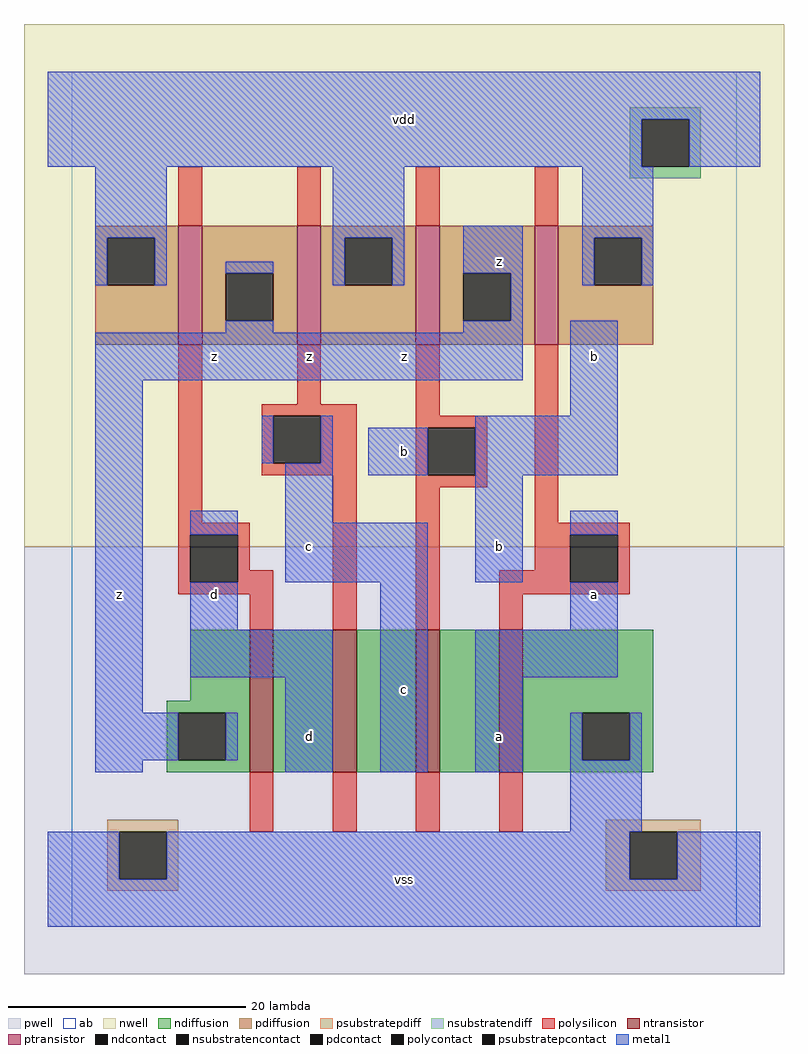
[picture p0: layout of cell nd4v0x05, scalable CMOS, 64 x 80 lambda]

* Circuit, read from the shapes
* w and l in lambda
.subckt nd4v0x05 a b c d vdd vss z
M1 n1 d z vss nfet w=12 l=2
M2 n2 c n1 vss nfet w=12 l=2
M3 n3 b n2 vss nfet w=12 l=2
M4 vss a n3 vss nfet w=12 l=2
M5 z d vdd vdd pfet w=10 l=2
M6 vdd c z vdd pfet w=10 l=2
M7 z b vdd vdd pfet w=10 l=2
M8 vdd a z vdd pfet w=10 l=2
.ends

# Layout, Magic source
magic
tech scmos
<< ab >>
rect 0 0 56 72
<< pwell >>
rect -4 -4 60 32
<< nwell >>
rect -4 32 60 76
<< polysilicon >>
rect 9 59 11 64
rect 19 59 21 64
rect 29 59 31 64
rect 39 59 41 64
rect 9 34 11 49
rect 19 44 21 49
rect 16 43 24 44
rect 16 39 17 43
rect 21 39 24 43
rect 16 38 24 39
rect 9 33 15 34
rect 9 29 10 33
rect 14 30 15 33
rect 14 29 17 30
rect 9 28 17 29
rect 15 25 17 28
rect 22 25 24 38
rect 29 43 31 49
rect 29 42 35 43
rect 29 38 30 42
rect 34 38 35 42
rect 29 37 35 38
rect 29 25 31 37
rect 39 34 41 49
rect 39 33 47 34
rect 39 30 42 33
rect 36 29 42 30
rect 46 29 47 33
rect 36 28 47 29
rect 36 25 38 28
rect 15 8 17 13
rect 22 8 24 13
rect 29 8 31 13
rect 36 8 38 13
<< ndiffusion >>
rect 10 19 15 25
rect 8 18 15 19
rect 8 14 9 18
rect 13 14 15 18
rect 8 13 15 14
rect 17 13 22 25
rect 24 13 29 25
rect 31 13 36 25
rect 38 18 49 25
rect 38 14 43 18
rect 47 14 49 18
rect 38 13 49 14
<< pdiffusion >>
rect 2 58 9 59
rect 2 54 3 58
rect 7 54 9 58
rect 2 49 9 54
rect 11 55 19 59
rect 11 51 13 55
rect 17 51 19 55
rect 11 49 19 51
rect 21 58 29 59
rect 21 54 23 58
rect 27 54 29 58
rect 21 49 29 54
rect 31 55 39 59
rect 31 51 33 55
rect 37 51 39 55
rect 31 49 39 51
rect 41 58 49 59
rect 41 54 44 58
rect 48 54 49 58
rect 41 49 49 54
<< metal1 >>
rect -2 68 58 72
rect -2 64 48 68
rect 52 64 58 68
rect 2 58 8 64
rect 2 54 3 58
rect 7 54 8 58
rect 22 58 28 64
rect 13 55 17 56
rect 22 54 23 58
rect 27 54 28 58
rect 33 55 38 59
rect 13 50 17 51
rect 37 51 38 55
rect 43 58 49 64
rect 43 54 44 58
rect 48 54 49 58
rect 33 50 38 51
rect 2 46 38 50
rect 2 18 6 46
rect 42 43 46 51
rect 16 39 17 43
rect 21 39 22 43
rect 10 33 14 35
rect 18 34 22 39
rect 25 38 30 42
rect 34 38 46 43
rect 18 29 30 34
rect 34 29 38 38
rect 42 33 46 35
rect 10 25 14 29
rect 10 21 22 25
rect 2 14 9 18
rect 13 14 14 18
rect 2 13 6 14
rect 18 13 22 21
rect 26 13 30 29
rect 42 25 46 29
rect 34 21 46 25
rect 34 13 38 21
rect 42 14 43 18
rect 47 14 48 18
rect 42 8 48 14
rect -2 4 4 8
rect 8 4 47 8
rect 51 4 58 8
rect -2 0 58 4
<< ntransistor >>
rect 15 13 17 25
rect 22 13 24 25
rect 29 13 31 25
rect 36 13 38 25
<< ptransistor >>
rect 9 49 11 59
rect 19 49 21 59
rect 29 49 31 59
rect 39 49 41 59
<< polycontact >>
rect 17 39 21 43
rect 10 29 14 33
rect 30 38 34 42
rect 42 29 46 33
<< ndcontact >>
rect 9 14 13 18
rect 43 14 47 18
<< pdcontact >>
rect 3 54 7 58
rect 13 51 17 55
rect 23 54 27 58
rect 33 51 37 55
rect 44 54 48 58
<< psubstratepcontact >>
rect 4 4 8 8
rect 47 4 51 8
<< nsubstratencontact >>
rect 48 64 52 68
<< psubstratepdiff >>
rect 3 8 9 9
rect 45 8 53 9
rect 3 4 4 8
rect 8 4 9 8
rect 3 3 9 4
rect 45 4 47 8
rect 51 4 53 8
rect 45 3 53 4
<< nsubstratendiff >>
rect 47 68 53 69
rect 47 64 48 68
rect 52 64 53 68
rect 47 63 53 64
<< labels >>
rlabel metal1 4 28 4 28 6 z
rlabel metal1 12 28 12 28 6 d
rlabel metal1 12 48 12 48 6 z
rlabel metal1 28 4 28 4 6 vss
rlabel metal1 20 16 20 16 6 d
rlabel metal1 28 20 28 20 6 c
rlabel metal1 20 32 20 32 6 c
rlabel metal1 28 40 28 40 6 b
rlabel metal1 20 48 20 48 6 z
rlabel metal1 28 48 28 48 6 z
rlabel metal1 28 68 28 68 6 vdd
rlabel metal1 36 16 36 16 6 a
rlabel metal1 44 28 44 28 6 a
rlabel metal1 36 32 36 32 6 b
rlabel metal1 44 48 44 48 6 b
rlabel metal1 36 56 36 56 6 z
<< end >>
